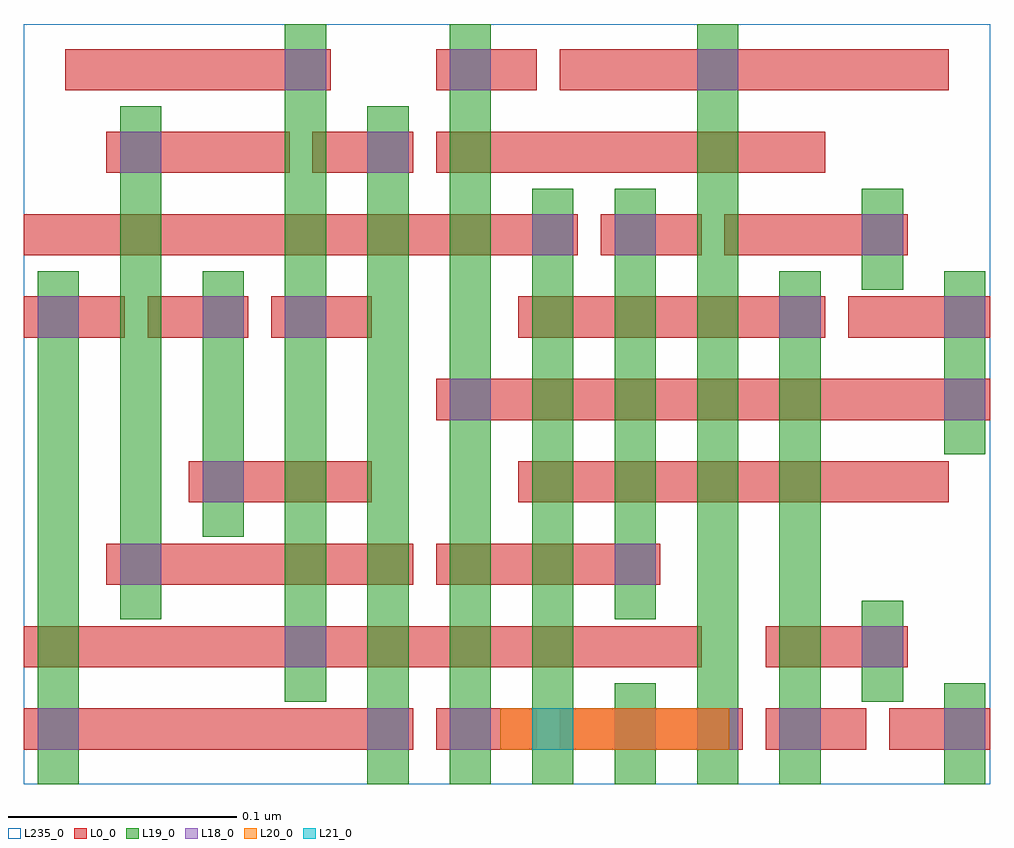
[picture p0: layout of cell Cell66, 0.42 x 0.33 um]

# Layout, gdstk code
import gdstk
lib = gdstk.Library(unit=1e-6, precision=2.5e-10)
def R(c, l, rs):  # rectangles x0, y0, x1, y1
    for r in rs: c.add(gdstk.rectangle(r[:2], r[2:], *l))
def A(c, l, x, y, w, h, nx, ny, dx, dy):  # array of equal rectangles
    R(c, l, [(x+i*dx, y+j*dy, x+i*dx+w, y+j*dy+h) for i in range(nx) for j in range(ny)])
L0_0 = (0, 0)
L18_0 = (18, 0)
L19_0 = (19, 0)
L20_0 = (20, 0)
L21_0 = (21, 0)
L235_0 = (235, 0)

cell66 = lib.new_cell('Cell66')
A(cell66, L0_0, 0.004, 0.179, 0.044, 0.018, 3, 1, 0.054, 0)
R(cell66, L0_0, [(0.004,-0.001,0.174,0.017), (0.184,-0.001,0.228,0.017), (0.238,-0.001,0.318,0.017), (0.328,-0.001,0.372,0.017), (0.382,-0.001,0.426,0.017), (0.004,0.035,0.3,0.053), (0.328,0.035,0.39,0.053), (0.04,0.071,0.174,0.089), (0.184,0.071,0.282,0.089), (0.076,0.107,0.156,0.125), (0.22,0.107,0.408,0.125), (0.184,0.143,0.426,0.161), (0.22,0.179,0.354,0.197), (0.364,0.179,0.426,0.197), (0.004,0.215,0.246,0.233), (0.256,0.215,0.3,0.233), (0.31,0.215,0.39,0.233), (0.04,0.251,0.12,0.269), (0.13,0.251,0.174,0.269), (0.184,0.251,0.354,0.269), (0.022,0.287,0.138,0.305), (0.184,0.287,0.228,0.305), (0.238,0.287,0.408,0.305)])
A(cell66, L18_0, 0.19, -0.001, 0.018, 0.018, 1, 3, 0, 0.144)
A(cell66, L18_0, 0.262, -0.001, 0.018, 0.018, 3, 1, 0.036, 0)
R(cell66, L18_0, [(0.01,-0.001,0.028,0.017), (0.154,-0.001,0.172,0.017), (0.406,-0.001,0.424,0.017), (0.118,0.035,0.136,0.053), (0.37,0.035,0.388,0.053), (0.046,0.071,0.064,0.089), (0.262,0.071,0.28,0.089), (0.082,0.107,0.1,0.125), (0.406,0.143,0.424,0.161), (0.01,0.179,0.028,0.197), (0.082,0.179,0.1,0.197), (0.118,0.179,0.136,0.197), (0.334,0.179,0.352,0.197), (0.406,0.179,0.424,0.197), (0.226,0.215,0.244,0.233), (0.262,0.215,0.28,0.233), (0.37,0.215,0.388,0.233), (0.046,0.251,0.064,0.269), (0.154,0.251,0.172,0.269), (0.118,0.287,0.136,0.305), (0.298,0.287,0.316,0.305)])
R(cell66, L19_0, [(0.01,-0.016,0.028,0.208), (0.154,-0.016,0.172,0.28), (0.19,-0.016,0.208,0.316), (0.226,-0.016,0.244,0.244), (0.262,-0.016,0.28,0.028), (0.298,-0.016,0.316,0.316), (0.334,-0.016,0.352,0.208), (0.406,-0.016,0.424,0.028), (0.118,0.02,0.136,0.316), (0.37,0.02,0.388,0.064), (0.046,0.056,0.064,0.28), (0.262,0.056,0.28,0.244), (0.082,0.092,0.1,0.208), (0.406,0.128,0.424,0.208), (0.37,0.2,0.388,0.244)])
R(cell66, L20_0, [(0.212,-0.001,0.312,0.017)])
R(cell66, L21_0, [(0.226,-0.001,0.244,0.017)])
R(cell66, L235_0, [(0.004,-0.016,0.426,0.316)])

lib.write_gds('Cell66.gds')
